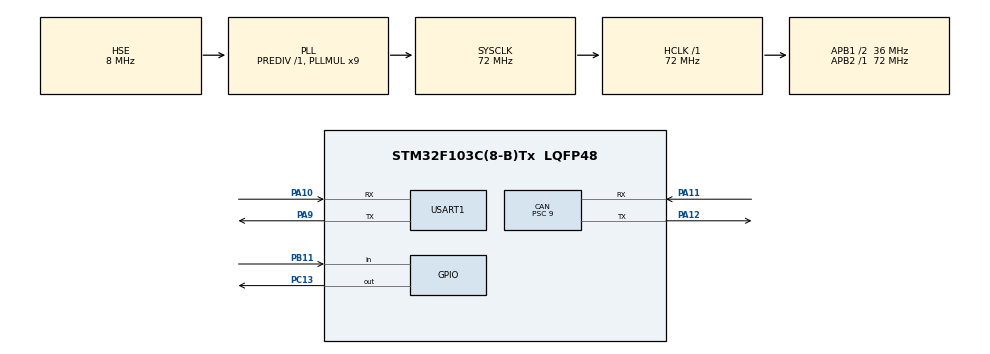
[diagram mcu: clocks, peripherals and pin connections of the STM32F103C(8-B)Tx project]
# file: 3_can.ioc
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CAN.BS1=CAN_BS1_6TQ
CAN.CalculateBaudRate=500000
CAN.CalculateTimeBit=2000
CAN.CalculateTimeQuantum=250.0
CAN.NART=ENABLE
CAN.Prescaler=9
Mcu.Family=STM32F1
Mcu.Name=STM32F103C(8-B)Tx
Mcu.Package=LQFP48
NVIC.PriorityGroup=NVIC_PRIORITYGROUP_4
NVIC.USART1_IRQn=true\:0\:0\:false\:false\:true\:true\:true\:true
NVIC.USB_LP_CAN1_RX0_IRQn=true\:0\:0\:false\:false\:true\:true\:true\:true
PA10.Mode=Asynchronous
PA10.Signal=USART1_RX
PA11.Mode=CAN_Activate
PA11.Signal=CAN_RX
PA12.Mode=CAN_Activate
PA12.Signal=CAN_TX
PA13.Mode=Serial_Wire
PA13.Signal=SYS_JTMS-SWDIO
PA14.Mode=Serial_Wire
PA14.Signal=SYS_JTCK-SWCLK
PA9.Mode=Asynchronous
PA9.Signal=USART1_TX
PB11.GPIO_PuPd=GPIO_PULLDOWN
PB11.Signal=GPIO_Input
PC13-TAMPER-RTC.Signal=GPIO_Output
PD0-OSC_IN.Mode=HSE-External-Oscillator
PD0-OSC_IN.Signal=RCC_OSC_IN
PD1-OSC_OUT.Mode=HSE-External-Oscillator
PD1-OSC_OUT.Signal=RCC_OSC_OUT
ProjectManager.HeapSize=0x200
ProjectManager.StackSize=0x400
ProjectManager.TargetToolchain=CMake
RCC.AHBFreq_Value=72000000
RCC.APB1CLKDivider=RCC_HCLK_DIV2
RCC.APB1Freq_Value=36000000
RCC.APB1TimFreq_Value=72000000
RCC.APB2Freq_Value=72000000
RCC.APB2TimFreq_Value=72000000
RCC.HCLKFreq_Value=72000000
RCC.PLLMUL=RCC_PLL_MUL9
RCC.PLLSourceVirtual=RCC_PLLSOURCE_HSE
RCC.SYSCLKFreq_VALUE=72000000
RCC.SYSCLKSource=RCC_SYSCLKSOURCE_PLLCLK
RCC.USBFreq_Value=72000000
USART1.VirtualMode=VM_ASYNC
board=custom

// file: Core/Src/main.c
/* USER CODE BEGIN Header */
/**
  ******************************************************************************
  * @file           : main.c
  * @brief          : Main program body
  ******************************************************************************
  * @attention
  *
  * Copyright (c) 2026 STMicroelectronics.
  * All rights reserved.
  *
  * This software is licensed under terms that can be found in the LICENSE file
  * in the root directory of this software component.
  * If no LICENSE file comes with this software, it is provided AS-IS.
  *
  ******************************************************************************
  */
/* USER CODE END Header */
#include "main.h"
#include "can.h"
#include "usart.h"
#include "gpio.h"

/* USER CODE BEGIN PTD */
typedef enum
{
  BUTTON_STATE_RELEASED = 0,
  BUTTON_STATE_DEBOUNCE_PRESS,
  BUTTON_STATE_PRESSED,
  BUTTON_STATE_DEBOUNCE_RELEASE
} ButtonState_t;

typedef enum
{
  BUTTON_EVENT_NONE = 0,
  BUTTON_EVENT_PRESSED
} ButtonEvent_t;

/* USER CODE END PTD */

/* USER CODE BEGIN PD */
#define BUTTON_GPIO_PORT    GPIOB
#define BUTTON_GPIO_PIN     GPIO_PIN_11
#define BUTTON_DEBOUNCE_MS  20U
#define CAN_MASTER_TX_ID    0x101U
#define CAN_SLAVE_TX_ID     0x102U
#define CAN_MASTER_DATA     0x11U
#define CAN_SLAVE_DATA      0x22U

/* USER CODE END PD */

/* USER CODE BEGIN PV */
static ButtonState_t button_state = BUTTON_STATE_RELEASED;
static uint32_t button_state_tick = 0U;
static CAN_Message_t can_rx_message = {0};
static const uint8_t can_rx_text[] = "CAN RX: 0x22\r\n";

/* USER CODE END PV */

void SystemClock_Config(void);
/* USER CODE BEGIN PFP */
static ButtonEvent_t Button_Update(void);

/* USER CODE END PFP */

/* USER CODE BEGIN 0 */
static ButtonEvent_t Button_Update(void)
{
  const uint32_t now = HAL_GetTick();
  const uint8_t is_pressed =
      (HAL_GPIO_ReadPin(BUTTON_GPIO_PORT, BUTTON_GPIO_PIN) == GPIO_PIN_SET);

  switch (button_state)
  {
    case BUTTON_STATE_RELEASED:
      if (is_pressed != 0U)
      {
        button_state = BUTTON_STATE_DEBOUNCE_PRESS;
        button_state_tick = now;
      }
      break;

    case BUTTON_STATE_DEBOUNCE_PRESS:
      if (is_pressed == 0U)
      {
        button_state = BUTTON_STATE_RELEASED;
      }
      else if ((now - button_state_tick) >= BUTTON_DEBOUNCE_MS)
      {
        button_state = BUTTON_STATE_PRESSED;
        return BUTTON_EVENT_PRESSED;
      }
      break;

    case BUTTON_STATE_PRESSED:
      if (is_pressed == 0U)
      {
        button_state = BUTTON_STATE_DEBOUNCE_RELEASE;
        button_state_tick = now;
      }
      break;

    case BUTTON_STATE_DEBOUNCE_RELEASE:
      if (is_pressed != 0U)
      {
        button_state = BUTTON_STATE_PRESSED;
      }
      else if ((now - button_state_tick) >= BUTTON_DEBOUNCE_MS)
      {
        button_state = BUTTON_STATE_RELEASED;
      }
      break;

    default:
      button_state = BUTTON_STATE_RELEASED;
      break;
  }

  return BUTTON_EVENT_NONE;
}

/* USER CODE END 0 */

int main(void)
{

  /* MCU Configuration--------------------------------------------------------*/

  /* Reset of all peripherals, Initializes the Flash interface and the Systick. */
  HAL_Init();

  /* Configure the system clock */
  SystemClock_Config();

  /* Initialize all configured peripherals */
  MX_GPIO_Init();
  MX_CAN_Init();
  MX_USART1_UART_Init();
  /* USER CODE BEGIN 2 */
  if (CAN_AppInit() != HAL_OK)
  {
    Error_Handler();
  }

  /* USER CODE END 2 */

  /* Infinite loop */
  while (1)
  {

    /* USER CODE BEGIN 3 */
    if (Button_Update() == BUTTON_EVENT_PRESSED)
    {
      const uint8_t tx_data = CAN_MASTER_DATA;

      if (CAN_SendMessage(CAN_MASTER_TX_ID, &tx_data, 1U) == HAL_OK)
      {
        HAL_GPIO_TogglePin(GPIOC, GPIO_PIN_13);
      }
    }

    while (CAN_TryReadMessage(&can_rx_message) != 0U)
    {
      if ((can_rx_message.std_id == CAN_SLAVE_TX_ID) &&
          (can_rx_message.length >= 1U) &&
          (can_rx_message.data[0] == CAN_SLAVE_DATA))
      {
        (void)HAL_UART_Transmit(&huart1, (uint8_t *)can_rx_text,
                               sizeof(can_rx_text) - 1U, 100U);
      }
    }
  }
  /* USER CODE END 3 */
}

void SystemClock_Config(void)
{
  RCC_OscInitTypeDef RCC_OscInitStruct = {0};
  RCC_ClkInitTypeDef RCC_ClkInitStruct = {0};

  /** Initializes the RCC Oscillators according to the specified parameters
  * in the RCC_OscInitTypeDef structure.
  */
  RCC_OscInitStruct.OscillatorType = RCC_OSCILLATORTYPE_HSE;
  RCC_OscInitStruct.HSEState = RCC_HSE_ON;
  RCC_OscInitStruct.HSEPredivValue = RCC_HSE_PREDIV_DIV1;
  RCC_OscInitStruct.HSIState = RCC_HSI_ON;
  RCC_OscInitStruct.PLL.PLLState = RCC_PLL_ON;
  RCC_OscInitStruct.PLL.PLLSource = RCC_PLLSOURCE_HSE;
  RCC_OscInitStruct.PLL.PLLMUL = RCC_PLL_MUL9;
  if (HAL_RCC_OscConfig(&RCC_OscInitStruct) != HAL_OK)
  {
    Error_Handler();
  }

  /** Initializes the CPU, AHB and APB buses clocks
  */
  RCC_ClkInitStruct.ClockType = RCC_CLOCKTYPE_HCLK|RCC_CLOCKTYPE_SYSCLK
                              |RCC_CLOCKTYPE_PCLK1|RCC_CLOCKTYPE_PCLK2;
  RCC_ClkInitStruct.SYSCLKSource = RCC_SYSCLKSOURCE_PLLCLK;
  RCC_ClkInitStruct.AHBCLKDivider = RCC_SYSCLK_DIV1;
  RCC_ClkInitStruct.APB1CLKDivider = RCC_HCLK_DIV2;
  RCC_ClkInitStruct.APB2CLKDivider = RCC_HCLK_DIV1;

  if (HAL_RCC_ClockConfig(&RCC_ClkInitStruct, FLASH_LATENCY_2) != HAL_OK)
  {
    Error_Handler();
  }
}

void Error_Handler(void)
{
  __disable_irq();
  while (1)
  {
  }
}
